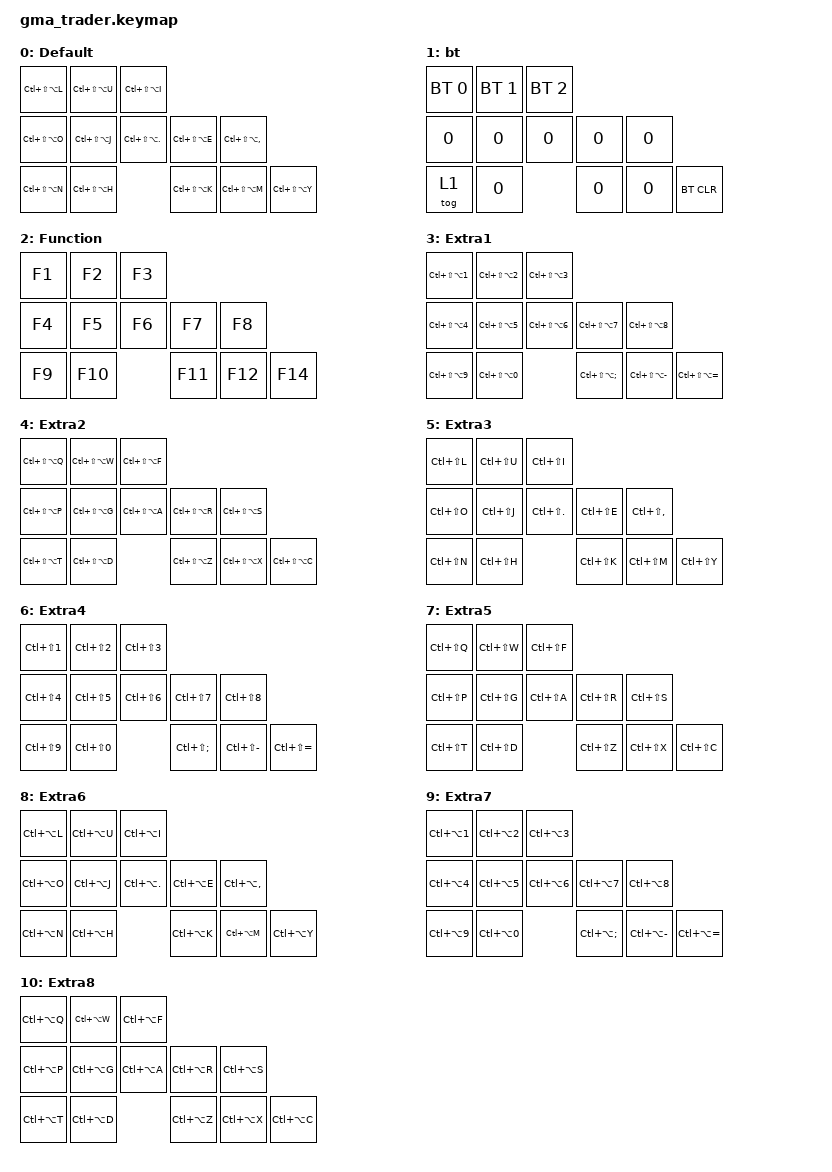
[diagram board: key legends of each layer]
#include <behaviors.dtsi>
#include <dt-bindings/zmk/keys.h>
#include <dt-bindings/zmk/bt.h>


#define COMBO(NAME, BINDINGS, KEYPOS, LAYER) \
  combo_##NAME { \
    timeout-ms = <50>; \
    bindings = <BINDINGS>; \
    key-positions = <KEYPOS>; \
    layers = <LAYER>; \
  };

/ {


        behaviors {
                hm: homerow_mods {
                        compatible = "zmk,behavior-hold-tap";
                        label = "HOMEROW_MODS";
                        #binding-cells = <2>;
                        tapping_term_ms = <190>;
                        quick-tap-ms = <175>;
                        flavor = "tap-preferred";
                        bindings = <&kp>, <&kp>;
                };
        };

        combos {
                compatible = "zmk,combos";
                COMBO(bt0, &to 1, 8 12, 0)
                COMBO(bt2, &to 1, 8 12, 2)
                COMBO(bt3, &to 1, 8 12, 3)
                COMBO(bt4, &to 1, 8 12, 4)
                COMBO(bt5, &to 1, 8 12, 5)
                COMBO(bt6, &to 1, 8 12, 6)
                COMBO(bt7, &to 1, 8 12, 7)
                COMBO(bt8, &to 1, 8 12, 8)
                COMBO(bt9, &to 1, 8 12, 9)
                COMBO(bt10, &to 1, 8 12, 10)
                COMBO(to2, &to 2, 0 3, 0)
                COMBO(to3, &to 3, 0 3, 2)
                COMBO(to4, &to 4, 0 3, 3)
                COMBO(to5, &to 5, 0 3, 4)
                COMBO(to6, &to 6, 0 3, 5)
                COMBO(to7, &to 7, 0 3, 6)
                COMBO(to8, &to 8, 0 3, 7)
                COMBO(to9, &to 9, 0 3, 8)
                COMBO(to10, &to 10, 0 3, 9)
                COMBO(to0, &to 0, 0 3, 10)
     
        };

    keymap {
        compatible = "zmk,keymap";

        default_layer {
            display-name = "Default";
            
            bindings =<
                &kp LC(LS(LA(L)))      &kp LC(LS(LA(U)))    &kp LC(LS(LA(I)))
                &kp LC(LS(LA(O)))      &kp LC(LS(LA(J)))    &kp LC(LS(LA(DOT)))    &kp LC(LS(LA(E)))    &kp LC(LS(LA(COMMA)))
                &kp LC(LS(LA(N)))      &kp LC(LS(LA(H)))              &kp LC(LS(LA(K)))    &kp LC(LS(LA(M)))    &kp LC(LS(LA(Y)))
            >;

        };

        bt_layer {
            display-name = "bt";

            bindings =<
                &bt BT_SEL 0     &bt BT_SEL 1   &bt BT_SEL 2
                &kp N0      &kp N0    &kp N0    &kp N0    &kp N0
                &tog 1      &kp N0              &kp N0    &kp N0    &bt BT_CLR
            >;

        };

        function_layer {
            display-name = "Function";

            bindings =<
                &kp F1      &kp F2    &kp F3
                &kp F4      &kp F5    &kp F6    &kp F7    &kp F8
                &kp F9      &kp F10              &kp F11    &kp F12    &kp F14
            >;

        };

        extra_layer1 {
            display-name = "Extra1";

            bindings =<
                &kp LC(LS(LA(N1)))      &kp LC(LS(LA(N2)))    &kp LC(LS(LA(N3)))
                &kp LC(LS(LA(N4)))      &kp LC(LS(LA(N5)))    &kp LC(LS(LA(N6)))    &kp LC(LS(LA(N7)))    &kp LC(LS(LA(N8)))
                &kp LC(LS(LA(N9)))      &kp LC(LS(LA(N0)))              &kp LC(LS(LA(SEMI)))    &kp LC(LS(LA(MINUS)))    &kp LC(LS(LA(EQUAL)))
            >;

        };
        extra_layer2 {
            display-name = "Extra2";

            bindings =<
                &kp LC(LS(LA(Q)))      &kp LC(LS(LA(W)))    &kp LC(LS(LA(F)))
                &kp LC(LS(LA(P)))      &kp LC(LS(LA(G)))    &kp LC(LS(LA(A)))    &kp LC(LS(LA(R)))    &kp LC(LS(LA(S)))
                &kp LC(LS(LA(T)))      &kp LC(LS(LA(D)))              &kp LC(LS(LA(Z)))    &kp LC(LS(LA(X)))    &kp LC(LS(LA(C)))
            >;

        };
        extra_layer3 {
            display-name = "Extra3";

            bindings =<
                &kp LC(LS(L))      &kp LC(LS(U))    &kp LC(LS(I))
                &kp LC(LS(O))      &kp LC(LS(J))    &kp LC(LS(DOT))    &kp LC(LS(E))    &kp LC(LS(COMMA)) 
                &kp LC(LS(N))      &kp LC(LS(H))              &kp LC(LS(K))    &kp LC(LS(M))    &kp LC(LS(Y))
            >;

        };
        extra_layer4 {
            display-name = "Extra4";

            bindings =<
                &kp LC(LS(N1))      &kp LC(LS(N2))    &kp LC(LS(N3))
                &kp LC(LS(N4))      &kp LC(LS(N5))    &kp LC(LS(N6))    &kp LC(LS(N7))    &kp LC(LS(N8))
                &kp LC(LS(N9))      &kp LC(LS(N0))              &kp LC(LS(SEMI))    &kp LC(LS(MINUS))    &kp LC(LS(EQUAL))
            >;

        };
        extra_layer5 {
            display-name = "Extra5";

            bindings =<
                &kp LC(LS(Q))      &kp LC(LS(W))    &kp LC(LS(F))
                &kp LC(LS(P))      &kp LC(LS(G))    &kp LC(LS(A))    &kp LC(LS(R))   &kp LC(LS(S))
                &kp LC(LS(T))      &kp LC(LS(D))              &kp LC(LS(Z))    &kp LC(LS(X))    &kp LC(LS(C))
            >;

        };
        extra_layer6 {
            display-name = "Extra6";

            bindings =<
                &kp LC(LA(L))      &kp LC(LA(U))    &kp LC(LA(I))
                &kp LC(LA(O))      &kp LC(LA(J))    &kp LC(LA(DOT))    &kp LC(LA(E))    &kp LC(LA(COMMA)) 
                &kp LC(LA(N))      &kp LC(LA(H))             &kp LC(LA(K))    &kp LC(LA(M))    &kp LC(LA(Y))
            >;

        };
        extra_layer7 {
            display-name = "Extra7";

            bindings =<
                &kp LC(LA(N1))      &kp LC(LA(N2))    &kp LC(LA(N3))
                &kp LC(LA(N4))      &kp LC(LA(N5))    &kp LC(LA(N6))    &kp LC(LA(N7))    &kp LC(LA(N8))
                &kp LC(LA(N9))      &kp LC(LA(N0))              &kp LC(LA(SEMI))    &kp LC(LA(MINUS))    &kp LC(LA(EQUAL))
            >;

        };
        extra_layer8 {
            display-name = "Extra8";

            bindings =<
                &kp LC(LA(Q))      &kp LC(LA(W))    &kp LC(LA(F))
                &kp LC(LA(P))      &kp LC(LA(G))    &kp LC(LA(A))    &kp LC(LA(R))    &kp LC(LA(S))
                &kp LC(LA(T))      &kp LC(LA(D))              &kp LC(LA(Z))    &kp LC(LA(X))    &kp LC(LA(C))
            >;

        };
    };
};
